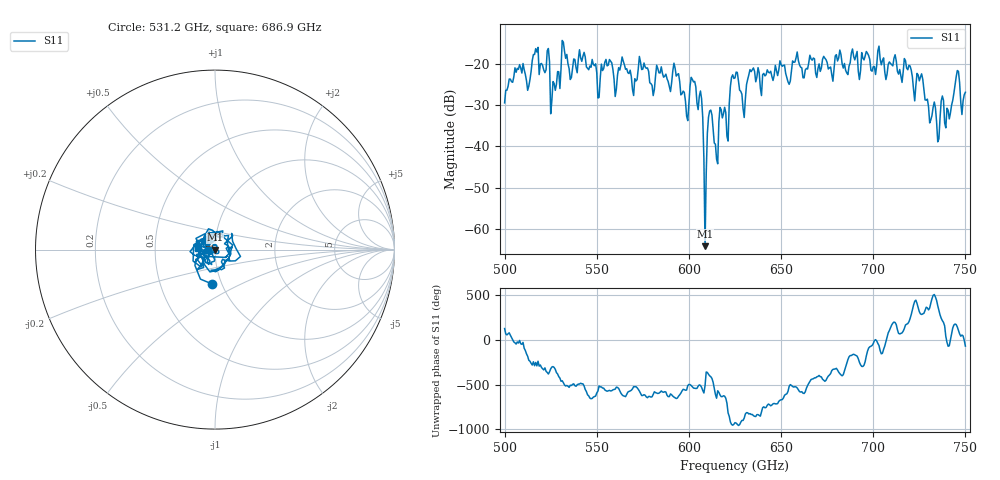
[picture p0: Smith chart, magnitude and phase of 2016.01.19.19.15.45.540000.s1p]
!Created with skrf (http://scikit-rf.org).
# GHz S RI R 50.0
!freq ReS11 ImS11
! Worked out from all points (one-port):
!   401 points, 500 GHz to 750 GHz, reference 50 ohm
!   lowest |S11| = -64.2 dB at 608.8 GHz (marker M1), VSWR 1.00, Z = 49.9 - j0.0312 ohm
!   |S11| at or under -10 dB: start of sweep to end of sweep
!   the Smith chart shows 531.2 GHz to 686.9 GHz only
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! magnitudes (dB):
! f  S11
! 500 GHz  -29.5
! 506.9 GHz  -21.1
! 513.1 GHz  -25.4
! 516.9 GHz  -16.3
! 523.1 GHz  -16.8
! 526.2 GHz  -24.3
! 531.2 GHz  -14.3
! 550.6 GHz  -28.3
! 562.5 GHz  -21.5
! 570.6 GHz  -23.6
! 574.4 GHz  -21.4
! 580 GHz  -25.2
! 593.8 GHz  -22.6
! 598.8 GHz  -32.7
! 601.9 GHz  -23.8
! 606.2 GHz  -26.6
! 608.8 GHz  -64.2
! 611.2 GHz  -31.4
! 615 GHz  -43.1
! 625 GHz  -23.4
! 629.4 GHz  -30.9
! 633.8 GHz  -21.9
! 656.2 GHz  -19.3
! 687.5 GHz  -19.7
! 718.8 GHz  -21.4
! 735 GHz  -38.9
! 745.6 GHz  -21.6
! 750 GHz  -26.9
